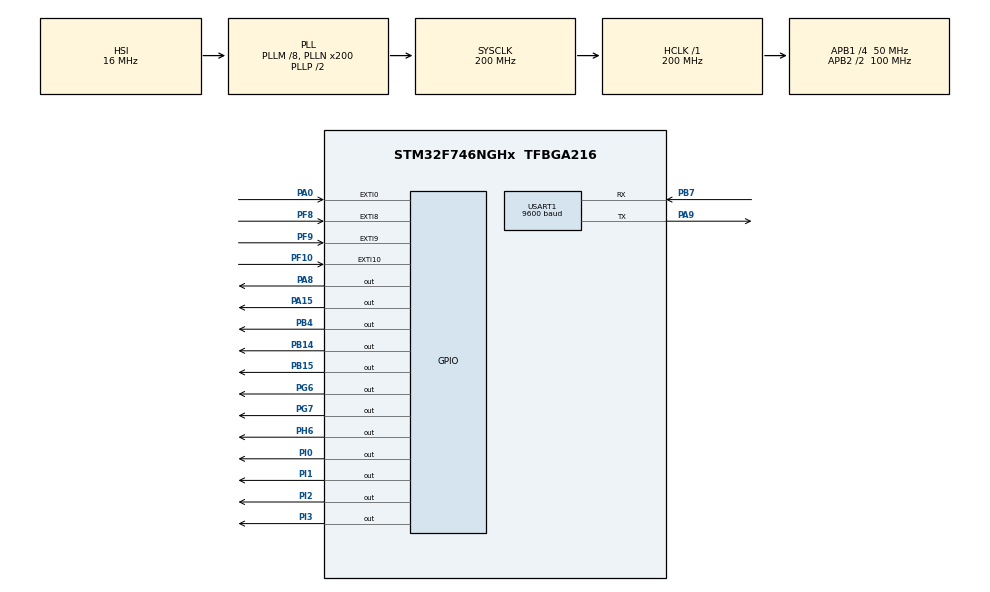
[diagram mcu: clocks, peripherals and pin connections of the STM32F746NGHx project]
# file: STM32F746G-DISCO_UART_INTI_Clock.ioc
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Mcu.Family=STM32F7
RCC.CortexFreq_Value=200000000
PG6.Signal=GPIO_Output
USART1.BaudRate=9600
PA0/WKUP.Signal=GPXTI0
PB15.Signal=GPIO_Output
RCC.SYSCLKSource=RCC_SYSCLKSOURCE_PLLCLK
ProjectManager.StackSize=0x400
RCC.PLL48CLockSelection=RCC_CLK48SOURCE_PLLSAIP
PH0/OSC_IN.Mode=HSE-External-Oscillator
RCC.HCLKFreq_Value=200000000
RCC.APB2TimFreq_Value=200000000
TIM3.Period=9999
PH1/OSC_OUT.Signal=RCC_OSC_OUT
RCC.AHBFreq_Value=200000000
NVIC.EXTI15_10_IRQn=true\:0\:0\:false\:false\:true\:true\:true
RCC.HSE_VALUE=25000000
PA14.Mode=Serial_Wire
PI0.Signal=GPIO_Output
PI3.Signal=GPIO_Output
TIM3.Prescaler=9999
PB7.Signal=USART1_RX
PA8.Signal=GPIO_Output
PH1/OSC_OUT.Mode=HSE-External-Oscillator
Mcu.Package=TFBGA216
RCC.SDMMCClockSelection=RCC_SDMMC1CLKSOURCE_CLK48
PA15.Signal=GPIO_Output
PF8.Signal=GPXTI8
RCC.PLLSAIN=384
RCC.PLLSAIP=RCC_PLLSAIP_DIV8
RCC.PLLSAIR=5
RCC.APB2CLKDivider=RCC_HCLK_DIV2
RCC.APB1TimFreq_Value=100000000
NVIC.USART1_IRQn=true\:0\:0\:false\:true\:true\:1\:true\:true
VP_TIM3_VS_ClockSourceINT.Mode=Internal
PB4.Signal=GPIO_Output
PG7.Signal=GPIO_Output
RCC.APB1CLKDivider=RCC_HCLK_DIV4
RCC.PLLSAIRDiv=RCC_PLLSAIDIVR_8
USART1.VirtualMode-Asynchronous=VM_ASYNC
PA13.Signal=SYS_JTMS-SWDIO
PA9.Mode=Asynchronous
ProjectManager.TargetToolchain=STM32CubeIDE
PA9.Signal=USART1_TX
RCC.USBFreq_Value=96000000
PB14.Signal=GPIO_Output
board=STM32F746G-DISCO
RCC.VCOOutputFreq_Value=400000000
NVIC.TIM3_IRQn=true\:0\:0\:false\:false\:true\:true\:true
PH0/OSC_IN.Signal=RCC_OSC_IN
RCC.APB2Freq_Value=100000000
PF10.Signal=GPXTI10
PI1.Signal=GPIO_Output
PI2.Signal=GPIO_Output
PA13.Mode=Serial_Wire
Mcu.Name=STM32F746NGHx
NVIC.EXTI0_IRQn=true\:0\:0\:false\:false\:true\:true\:true
RCC.SYSCLKFreq_VALUE=200000000
PB7.Mode=Asynchronous
NVIC.EXTI9_5_IRQn=true\:0\:0\:false\:false\:true\:true\:true
PA14.Signal=SYS_JTCK-SWCLK
ProjectManager.HeapSize=0x200
PH6.Signal=GPIO_Output
RCC.HSI_VALUE=16000000
PF9.Signal=GPXTI9
RCC.PLLQ=9
NVIC.PriorityGroup=NVIC_PRIORITYGROUP_4
RCC.PLLM=8
RCC.PLLN=200
RCC.APB1Freq_Value=50000000
RCC.PLLI2SN=100

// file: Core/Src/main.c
/* USER CODE BEGIN Header */
/**
 ******************************************************************************
 * @file           : main.c
 * @brief          : Main program body
 ******************************************************************************
 * @attention
 *
 * <h2><center>&copy; Copyright (c) 2021 STMicroelectronics.
 * All rights reserved.</center></h2>
 *
 * This software component is licensed by ST under Ultimate Liberty license
 * SLA0044, the "License"; You may not use this file except in compliance with
 * the License. You may obtain a copy of the License at:
 *                             www.st.com/SLA0044
 *
 ******************************************************************************
 */
/* USER CODE END Header */
#include "main.h"

/* USER CODE BEGIN Includes */
//#include <stdio.h>
/* USER CODE END Includes */

TIM_HandleTypeDef htim3;

UART_HandleTypeDef huart1;

/* USER CODE BEGIN PV */
uint8_t rx1_data;
unsigned char UART_Text_Input[7] = "Input: ";
unsigned char UART_Text_Time[7] = "Time: ";
unsigned char UART_Text_Error[5] = "ERROR";
unsigned char UART_Text_Start[59] = "Loaded All Function\n\rYou can use Uart serial communication.";

unsigned char Enter[2] = "\n\r";
/* USER CODE END PV */

void SystemClock_Config(void);
static void MX_GPIO_Init(void);
static void MX_TIM3_Init(void);
static void MX_USART1_UART_Init(void);
static void MX_NVIC_Init(void);
/* USER CODE BEGIN PFP */
void SystemClock_Config(void);
/* USER CODE END PFP */

/* USER CODE BEGIN 0 */
unsigned int Loop_Count = 0;
void Int_To_Str(int num, unsigned char *data);
unsigned char UART_Input = 0; // 인터럽트 입력 여부 구별
unsigned char Segment_Test(unsigned short delaytime);
unsigned char Segment_Select(unsigned char SegmentNum, unsigned char PrintNum);
unsigned char Num_Select(unsigned char PrintNumx16);
unsigned short input = 0; //인풋///////////////////////////////////////////////////////////////////
unsigned char addr[4] = { 0, 0, 0, 0 };
void UART_Start();
unsigned char UART_Print();
//
//int _write(int file, char *p, int len) { //printf 사용시 실행
//	HAL_UART_Transmit(&huart1, p, len, 100);
//	return len;
//}

void Line_Change(void) {
	HAL_UART_Transmit(&huart1, &Enter[0], 1, 10);
	HAL_UART_Transmit(&huart1, &Enter[1], 1, 10);

}

void UART_Start(void) {
	for (int i = 0; i <59; i++) {
		HAL_UART_Transmit(&huart1, &UART_Text_Start[i], 1, 10);
	}
	HAL_UART_Transmit(&huart1, &rx1_data, 1, 10);
	Line_Change();
}

unsigned char UART_Print() {
	if (rx1_data == 84 || rx1_data == 116) { //UART 입력이 T 또는 t인경우 실행
		for (int i = 0; i < 7; i++) {
			HAL_UART_Transmit(&huart1, &UART_Text_Input[i], 1, 10);
		}
		HAL_UART_Transmit(&huart1, &rx1_data, 1, 10);
		Line_Change();

		for (int i = 0; i < 7; i++) {
			HAL_UART_Transmit(&huart1, &UART_Text_Time[i], 1, 10);
		}

		unsigned char tmplist[4];

		for (int i = 0; i < 4; i++) {
			tmplist[i] = addr[i] + 48;
			HAL_UART_Transmit(&huart1, &tmplist[i], 1, 10);
		}
		Line_Change();

	} else {
		for (int i = 0; i < 7; i++) {
			HAL_UART_Transmit(&huart1, &UART_Text_Input[i], 1, 10);
		}
		HAL_UART_Transmit(&huart1, &rx1_data, 1, 10);
		Line_Change();
	}
	return 0;

}

void HAL_UART_RxCpltCallback(UART_HandleTypeDef *huart) {
	if (huart->Instance == USART1) {
		HAL_UART_Receive_IT(&huart1, &rx1_data, 1);
		UART_Input = 1;

	}
}

void HAL_TIM_PeriodElapsedCallback(TIM_HandleTypeDef *htim) //타이머 인터럽트 코드
{
	if (htim->Instance == TIM3) {

		HAL_GPIO_TogglePin(GPIOI, GPIO_PIN_1);
		input = input + 1;
	}
}

unsigned char Num_Select(unsigned char PrintNumx16) {
	if (PrintNumx16 & 0x40) {
		HAL_GPIO_WritePin(GPIOI, GPIO_PIN_2, 1);
	} else {
		HAL_GPIO_WritePin(GPIOI, GPIO_PIN_2, 0);
	}
	if (PrintNumx16 & 0x20) {
		HAL_GPIO_WritePin(GPIOI, GPIO_PIN_3, 1);
	} else {
		HAL_GPIO_WritePin(GPIOI, GPIO_PIN_3, 0);
	}
	if (PrintNumx16 & 0x10) {
		HAL_GPIO_WritePin(GPIOH, GPIO_PIN_6, 1);
	} else {
		HAL_GPIO_WritePin(GPIOH, GPIO_PIN_6, 0);
	}
	if (PrintNumx16 & 0x08) {
		HAL_GPIO_WritePin(GPIOI, GPIO_PIN_0, 1);
	} else {
		HAL_GPIO_WritePin(GPIOI, GPIO_PIN_0, 0);
	}
	if (PrintNumx16 & 0x04) {
		HAL_GPIO_WritePin(GPIOG, GPIO_PIN_7, 1);
	} else {
		HAL_GPIO_WritePin(GPIOG, GPIO_PIN_7, 0);
	}
	if (PrintNumx16 & 0x02) {
		HAL_GPIO_WritePin(GPIOB, GPIO_PIN_4, 1);
	} else {
		HAL_GPIO_WritePin(GPIOB, GPIO_PIN_4, 0);
	}
	if (PrintNumx16 & 0x01) {
		HAL_GPIO_WritePin(GPIOG, GPIO_PIN_6, 1);
	} else {
		HAL_GPIO_WritePin(GPIOG, GPIO_PIN_6, 0);
	}
	return 0;
}

unsigned char Segment_Select(unsigned char SegmentNumx16,
		unsigned char PrintNumx16) {
	//출력할 세그먼트 결정

	if (SegmentNumx16 & 0x08) {
		HAL_GPIO_WritePin(GPIOB, GPIO_PIN_14, 1);
	} else {
		HAL_GPIO_WritePin(GPIOB, GPIO_PIN_14, 0);
	}
	if (SegmentNumx16 & 0x04) {
		HAL_GPIO_WritePin(GPIOB, GPIO_PIN_15, 1);
	} else {
		HAL_GPIO_WritePin(GPIOB, GPIO_PIN_15, 0);
	}
	if (SegmentNumx16 & 0x02) {
		HAL_GPIO_WritePin(GPIOA, GPIO_PIN_8, 1);
	} else {
		HAL_GPIO_WritePin(GPIOA, GPIO_PIN_8, 0);
	}
	if (SegmentNumx16 & 0x01) {
		HAL_GPIO_WritePin(GPIOA, GPIO_PIN_15, 1);
	} else {
		HAL_GPIO_WritePin(GPIOA, GPIO_PIN_15, 0);
	}
	Num_Select(PrintNumx16);
	return 0;

}

unsigned char Segment_Test(unsigned short delaytime) {
//	unsigned short delaytime = 10;
	HAL_GPIO_WritePin(GPIOA, GPIO_PIN_15, 1);
	HAL_Delay(delaytime);
	HAL_GPIO_WritePin(GPIOA, GPIO_PIN_15, 0);
	HAL_GPIO_WritePin(GPIOA, GPIO_PIN_8, 1);
	HAL_Delay(delaytime);
	HAL_GPIO_WritePin(GPIOA, GPIO_PIN_8, 0);
	HAL_GPIO_WritePin(GPIOB, GPIO_PIN_15, 1);
	HAL_Delay(delaytime);
	HAL_GPIO_WritePin(GPIOB, GPIO_PIN_15, 0);
	HAL_GPIO_WritePin(GPIOB, GPIO_PIN_14, 1);
	HAL_Delay(delaytime);
	HAL_GPIO_WritePin(GPIOB, GPIO_PIN_14, 0);
	return 0;
}

/* USER CODE END 0 */

int main(void) {

	/* MCU Configuration--------------------------------------------------------*/

	/* Reset of all peripherals, Initializes the Flash interface and the Systick. */
	HAL_Init();

	/* Configure the system clock */
	SystemClock_Config();

	/* Initialize all configured peripherals */
	MX_GPIO_Init();
	MX_TIM3_Init();
	MX_USART1_UART_Init();

	/* Initialize interrupts */
	MX_NVIC_Init();
	/* USER CODE BEGIN 2 */
	HAL_TIM_Base_Start_IT(&htim3); // 타이머 인터럽트 시작 디버그 할경우 주석처리 해야함
	HAL_UART_Receive_IT(&huart1, &rx1_data, 1); // UART인터럽트 한바이트 들어오면 시작
	unsigned char List_Of_Segments[4] = { 0x01, 0x02, 0x04, 0x08 };
	unsigned char List_Of_Segment_Info[10] = { 0xC0, 0xF9, 0xA4, 0xB0, 0x99,
			0x92, 0x82, 0xD8, 0x80, 0x98 };
	unsigned short delaytime = 1;
	UART_Start();

	/* USER CODE END 2 */

	/* Infinite loop */
	while (1) {
		Loop_Count++;
		if (input % 100 == 60) {
			input += 100;
			input -= 60;
		}
		if (input > 2359) {
			input = 0;
		}

		addr[0] = input / 1000;
		addr[1] = input % 1000 / 100;
		addr[2] = input % 100 / 10;
		addr[3] = input % 10;
		Segment_Select(List_Of_Segments[0], List_Of_Segment_Info[addr[0]]);
		HAL_Delay(delaytime);
		Segment_Select(List_Of_Segments[1], List_Of_Segment_Info[addr[1]]);
		HAL_Delay(delaytime);
		Segment_Select(List_Of_Segments[2], List_Of_Segment_Info[addr[2]]);
		HAL_Delay(delaytime);
		Segment_Select(List_Of_Segments[3], List_Of_Segment_Info[addr[3]]);
		HAL_Delay(delaytime);

		if (UART_Input == 1) {
			UART_Print();
			UART_Input = 0;
		}

	}
}

void SystemClock_Config(void) {
	RCC_OscInitTypeDef RCC_OscInitStruct = { 0 };
	RCC_ClkInitTypeDef RCC_ClkInitStruct = { 0 };
	RCC_PeriphCLKInitTypeDef PeriphClkInitStruct = { 0 };

	/** Configure the main internal regulator output voltage
	 */
	__HAL_RCC_PWR_CLK_ENABLE();
	__HAL_PWR_VOLTAGESCALING_CONFIG(PWR_REGULATOR_VOLTAGE_SCALE1);
	/** Initializes the RCC Oscillators according to the specified parameters
	 * in the RCC_OscInitTypeDef structure.
	 */
	RCC_OscInitStruct.OscillatorType = RCC_OSCILLATORTYPE_HSI;
	RCC_OscInitStruct.HSIState = RCC_HSI_ON;
	RCC_OscInitStruct.HSICalibrationValue = RCC_HSICALIBRATION_DEFAULT;
	RCC_OscInitStruct.PLL.PLLState = RCC_PLL_ON;
	RCC_OscInitStruct.PLL.PLLSource = RCC_PLLSOURCE_HSI;
	RCC_OscInitStruct.PLL.PLLM = 8;
	RCC_OscInitStruct.PLL.PLLN = 200;
	RCC_OscInitStruct.PLL.PLLP = RCC_PLLP_DIV2;
	RCC_OscInitStruct.PLL.PLLQ = 9;
	if (HAL_RCC_OscConfig(&RCC_OscInitStruct) != HAL_OK) {
		Error_Handler();
	}
	/** Activate the Over-Drive mode
	 */
	if (HAL_PWREx_EnableOverDrive() != HAL_OK) {
		Error_Handler();
	}
	/** Initializes the CPU, AHB and APB buses clocks
	 */
	RCC_ClkInitStruct.ClockType = RCC_CLOCKTYPE_HCLK | RCC_CLOCKTYPE_SYSCLK
			| RCC_CLOCKTYPE_PCLK1 | RCC_CLOCKTYPE_PCLK2;
	RCC_ClkInitStruct.SYSCLKSource = RCC_SYSCLKSOURCE_PLLCLK;
	RCC_ClkInitStruct.AHBCLKDivider = RCC_SYSCLK_DIV1;
	RCC_ClkInitStruct.APB1CLKDivider = RCC_HCLK_DIV4;
	RCC_ClkInitStruct.APB2CLKDivider = RCC_HCLK_DIV2;

	if (HAL_RCC_ClockConfig(&RCC_ClkInitStruct, FLASH_LATENCY_6) != HAL_OK) {
		Error_Handler();
	}
	PeriphClkInitStruct.PeriphClockSelection = RCC_PERIPHCLK_USART1;
	PeriphClkInitStruct.Usart1ClockSelection = RCC_USART1CLKSOURCE_PCLK2;
	if (HAL_RCCEx_PeriphCLKConfig(&PeriphClkInitStruct) != HAL_OK) {
		Error_Handler();
	}
}

/**
 * @brief NVIC Configuration.
 * @retval None
 */
static void MX_NVIC_Init(void) {
	/* USART1_IRQn interrupt configuration */
	HAL_NVIC_SetPriority(USART1_IRQn, 0, 0);
	HAL_NVIC_EnableIRQ(USART1_IRQn);
}

static void MX_TIM3_Init(void) {

	TIM_ClockConfigTypeDef sClockSourceConfig = { 0 };
	TIM_MasterConfigTypeDef sMasterConfig = { 0 };

	htim3.Instance = TIM3;
	htim3.Init.Prescaler = 9999;
	htim3.Init.CounterMode = TIM_COUNTERMODE_UP;
	htim3.Init.Period = 9999;
	htim3.Init.ClockDivision = TIM_CLOCKDIVISION_DIV1;
	htim3.Init.AutoReloadPreload = TIM_AUTORELOAD_PRELOAD_DISABLE;
	if (HAL_TIM_Base_Init(&htim3) != HAL_OK) {
		Error_Handler();
	}
	sClockSourceConfig.ClockSource = TIM_CLOCKSOURCE_INTERNAL;
	if (HAL_TIM_ConfigClockSource(&htim3, &sClockSourceConfig) != HAL_OK) {
		Error_Handler();
	}
	sMasterConfig.MasterOutputTrigger = TIM_TRGO_RESET;
	sMasterConfig.MasterSlaveMode = TIM_MASTERSLAVEMODE_DISABLE;
	if (HAL_TIMEx_MasterConfigSynchronization(&htim3, &sMasterConfig)
			!= HAL_OK) {
		Error_Handler();
	}

}

static void MX_USART1_UART_Init(void) {

	huart1.Instance = USART1;
	huart1.Init.BaudRate = 9600;
	huart1.Init.WordLength = UART_WORDLENGTH_8B;
	huart1.Init.StopBits = UART_STOPBITS_1;
	huart1.Init.Parity = UART_PARITY_NONE;
	huart1.Init.Mode = UART_MODE_TX_RX;
	huart1.Init.HwFlowCtl = UART_HWCONTROL_NONE;
	huart1.Init.OverSampling = UART_OVERSAMPLING_16;
	huart1.Init.OneBitSampling = UART_ONE_BIT_SAMPLE_DISABLE;
	huart1.AdvancedInit.AdvFeatureInit = UART_ADVFEATURE_NO_INIT;
	if (HAL_UART_Init(&huart1) != HAL_OK) {
		Error_Handler();
	}

}

static void MX_GPIO_Init(void) {
	GPIO_InitTypeDef GPIO_InitStruct = { 0 };

	/* GPIO Ports Clock Enable */
	__HAL_RCC_GPIOB_CLK_ENABLE();
	__HAL_RCC_GPIOA_CLK_ENABLE();
	__HAL_RCC_GPIOI_CLK_ENABLE();
	__HAL_RCC_GPIOH_CLK_ENABLE();
	__HAL_RCC_GPIOG_CLK_ENABLE();
	__HAL_RCC_GPIOF_CLK_ENABLE();

	/*Configure GPIO pin Output Level */
	HAL_GPIO_WritePin(GPIOB, GPIO_PIN_4 | GPIO_PIN_14 | GPIO_PIN_15,
			GPIO_PIN_RESET);

	/*Configure GPIO pin Output Level */
	HAL_GPIO_WritePin(GPIOA, GPIO_PIN_15 | GPIO_PIN_8, GPIO_PIN_RESET);

	/*Configure GPIO pin Output Level */
	HAL_GPIO_WritePin(GPIOI, GPIO_PIN_3 | GPIO_PIN_2 | GPIO_PIN_1 | GPIO_PIN_0,
			GPIO_PIN_RESET);

	/*Configure GPIO pin Output Level */
	HAL_GPIO_WritePin(GPIOG, GPIO_PIN_7 | GPIO_PIN_6, GPIO_PIN_RESET);

	/*Configure GPIO pin Output Level */
	HAL_GPIO_WritePin(GPIOH, GPIO_PIN_6, GPIO_PIN_RESET);

	/*Configure GPIO pins : PB4 PB14 PB15 */
	GPIO_InitStruct.Pin = GPIO_PIN_4 | GPIO_PIN_14 | GPIO_PIN_15;
	GPIO_InitStruct.Mode = GPIO_MODE_OUTPUT_PP;
	GPIO_InitStruct.Pull = GPIO_NOPULL;
	GPIO_InitStruct.Speed = GPIO_SPEED_FREQ_LOW;
	HAL_GPIO_Init(GPIOB, &GPIO_InitStruct);

	/*Configure GPIO pins : PA15 PA8 */
	GPIO_InitStruct.Pin = GPIO_PIN_15 | GPIO_PIN_8;
	GPIO_InitStruct.Mode = GPIO_MODE_OUTPUT_PP;
	GPIO_InitStruct.Pull = GPIO_NOPULL;
	GPIO_InitStruct.Speed = GPIO_SPEED_FREQ_LOW;
	HAL_GPIO_Init(GPIOA, &GPIO_InitStruct);

	/*Configure GPIO pins : PI3 PI2 PI1 PI0 */
	GPIO_InitStruct.Pin = GPIO_PIN_3 | GPIO_PIN_2 | GPIO_PIN_1 | GPIO_PIN_0;
	GPIO_InitStruct.Mode = GPIO_MODE_OUTPUT_PP;
	GPIO_InitStruct.Pull = GPIO_NOPULL;
	GPIO_InitStruct.Speed = GPIO_SPEED_FREQ_LOW;
	HAL_GPIO_Init(GPIOI, &GPIO_InitStruct);

	/*Configure GPIO pins : PG7 PG6 */
	GPIO_InitStruct.Pin = GPIO_PIN_7 | GPIO_PIN_6;
	GPIO_InitStruct.Mode = GPIO_MODE_OUTPUT_PP;
	GPIO_InitStruct.Pull = GPIO_NOPULL;
	GPIO_InitStruct.Speed = GPIO_SPEED_FREQ_LOW;
	HAL_GPIO_Init(GPIOG, &GPIO_InitStruct);

	/*Configure GPIO pins : PF10 PF9 PF8 */
	GPIO_InitStruct.Pin = GPIO_PIN_10 | GPIO_PIN_9 | GPIO_PIN_8;
	GPIO_InitStruct.Mode = GPIO_MODE_IT_RISING;
	GPIO_InitStruct.Pull = GPIO_NOPULL;
	HAL_GPIO_Init(GPIOF, &GPIO_InitStruct);

	/*Configure GPIO pin : PA0 */
	GPIO_InitStruct.Pin = GPIO_PIN_0;
	GPIO_InitStruct.Mode = GPIO_MODE_IT_RISING;
	GPIO_InitStruct.Pull = GPIO_NOPULL;
	HAL_GPIO_Init(GPIOA, &GPIO_InitStruct);

	/*Configure GPIO pin : PH6 */
	GPIO_InitStruct.Pin = GPIO_PIN_6;
	GPIO_InitStruct.Mode = GPIO_MODE_OUTPUT_PP;
	GPIO_InitStruct.Pull = GPIO_NOPULL;
	GPIO_InitStruct.Speed = GPIO_SPEED_FREQ_LOW;
	HAL_GPIO_Init(GPIOH, &GPIO_InitStruct);

	/* EXTI interrupt init*/
	HAL_NVIC_SetPriority(EXTI0_IRQn, 0, 0);
	HAL_NVIC_EnableIRQ(EXTI0_IRQn);

	HAL_NVIC_SetPriority(EXTI9_5_IRQn, 0, 0);
	HAL_NVIC_EnableIRQ(EXTI9_5_IRQn);

	HAL_NVIC_SetPriority(EXTI15_10_IRQn, 0, 0);
	HAL_NVIC_EnableIRQ(EXTI15_10_IRQn);

}

void Error_Handler(void) {
	__disable_irq();
	while (1) {
	}
}
/* USER CODE END Error_Handler_Debug */

/************************ (C) COPYRIGHT STMicroelectronics *****END OF FILE****/
